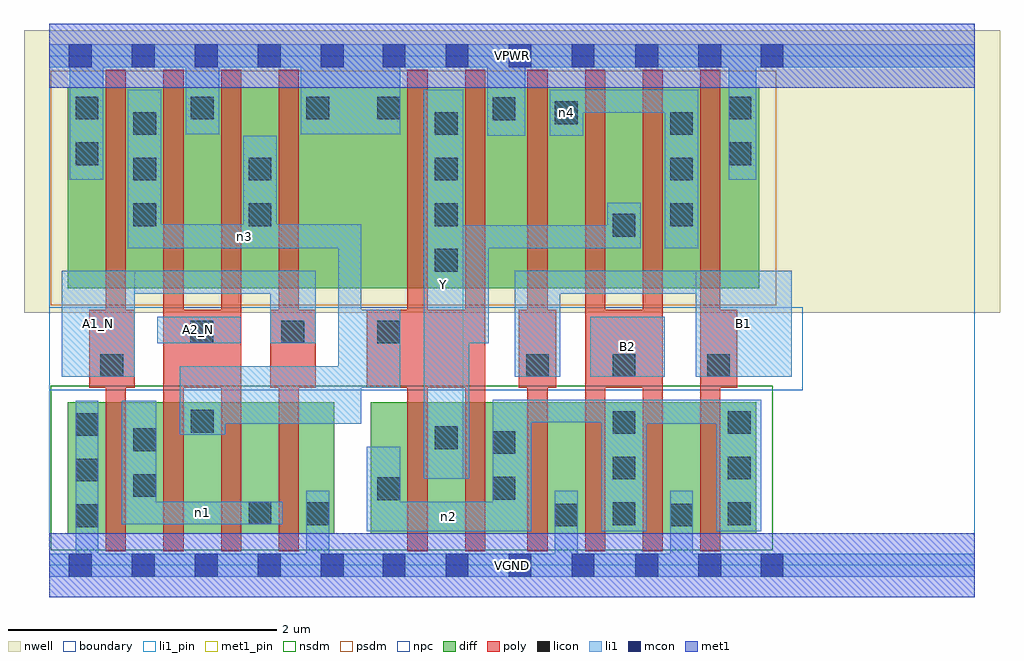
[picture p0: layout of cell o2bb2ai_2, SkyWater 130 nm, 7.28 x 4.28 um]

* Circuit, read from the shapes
.subckt o2bb2ai_2 A1_N A2_N B1 B2 VGND VPWR Y n1 n2 n3 n4
XM1 n1 A1_N VGND VSUBS sky130_fd_pr__nfet_01v8 w=0.98 l=0.15 m=2
XM2 n3 A2_N n1 VSUBS sky130_fd_pr__nfet_01v8 w=0.98 l=0.15 m=2
XM3 Y n3 n2 VSUBS sky130_fd_pr__nfet_01v8 w=0.98 l=0.15 m=2
XM4 VGND B1 n2 VSUBS sky130_fd_pr__nfet_01v8 w=0.98 l=0.15 m=2
XM5 n2 B2 VGND VSUBS sky130_fd_pr__nfet_01v8 w=0.98 l=0.15 m=2
XM6 n3 A1_N VPWR n5 sky130_fd_pr__pfet_01v8 w=1.5 l=0.15 m=2
XM7 VPWR A2_N n3 n5 sky130_fd_pr__pfet_01v8 w=1.5 l=0.15 m=2
XM8 Y n3 VPWR n5 sky130_fd_pr__pfet_01v8 w=1.5 l=0.15 m=2
XM9 n4 B1 VPWR n5 sky130_fd_pr__pfet_01v8 w=1.5 l=0.15 m=2
XM10 Y B2 n4 n5 sky130_fd_pr__pfet_01v8 w=1.5 l=0.15 m=2
.ends

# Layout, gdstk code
import gdstk
lib = gdstk.Library(unit=1e-6, precision=1e-09)
def R(c, l, rs):  # rectangles x0, y0, x1, y1
    for r in rs: c.add(gdstk.rectangle(r[:2], r[2:], *l))
def A(c, l, x, y, w, h, nx, ny, dx, dy):  # array of equal rectangles
    R(c, l, [(x+i*dx, y+j*dy, x+i*dx+w, y+j*dy+h) for i in range(nx) for j in range(ny)])
nwell = (64, 20)
diff = (65, 20)
poly = (66, 20)
licon = (66, 44)
li1_pin = (67, 16)
li1 = (67, 20)
mcon = (67, 44)
met1_pin = (68, 16)
met1 = (68, 20)
nsdm = (93, 44)
psdm = (94, 20)
npc = (95, 20)
boundary = (235, 4)

o2bb2ai_2 = lib.new_cell('o2bb2ai_2')
R(o2bb2ai_2, nwell, [(-0.19,1.885,7.09,3.99), (0,1.885,6.9,3.99)])
R(o2bb2ai_2, diff, [(0.135,0.235,2.125,1.215), (2.395,0.235,5.27,1.215), (0.135,2.065,5.295,3.565)])
A(o2bb2ai_2, poly, 0.42, 0.105, 0.15, 3.59, 4, 1, 0.43, 0)
A(o2bb2ai_2, poly, 3.565, 0.105, 0.15, 3.59, 4, 1, 0.43, 0)
R(o2bb2ai_2, poly, [(2.67,0.105,2.82,3.695), (3.1,0.105,3.25,3.695), (0.295,1.325,0.635,1.905), (0.85,1.325,1.43,1.905), (1.645,1.325,1.985,1.905), (2.365,1.325,3.25,1.905), (3.5,1.325,3.78,1.905), (3.995,1.325,4.575,1.905), (4.855,1.325,5.13,1.905)])
A(o2bb2ai_2, licon, 0.195, 0.285, 0.17, 0.17, 1, 3, 0, 0.34)
A(o2bb2ai_2, licon, 4.2, 0.3, 0.17, 0.17, 1, 3, 0, 0.34)
A(o2bb2ai_2, licon, 5.06, 0.3, 0.17, 0.17, 1, 3, 0, 0.34)
A(o2bb2ai_2, licon, 2.875, 2.19, 0.17, 0.17, 1, 4, 0, 0.34)
A(o2bb2ai_2, licon, 0.625, 2.53, 0.17, 0.17, 1, 3, 0, 0.34)
A(o2bb2ai_2, licon, 4.63, 2.53, 0.17, 0.17, 1, 3, 0, 0.34)
A(o2bb2ai_2, licon, 0.195, 3.325, 0.17, 0.17, 3, 1, 0.86, 0)
R(o2bb2ai_2, licon, [(3.77,0.29,3.94,0.46), (4.63,0.29,4.8,0.46), (1.915,0.3,2.085,0.47), (1.485,0.305,1.655,0.475), (2.445,0.485,2.615,0.655), (3.305,0.49,3.475,0.66), (0.625,0.51,0.795,0.68), (3.305,0.83,3.475,1), (0.625,0.85,0.795,1.02), (2.875,0.865,3.045,1.035), (1.055,0.99,1.225,1.16), (0.38,1.405,0.55,1.575), (3.555,1.405,3.725,1.575), (4.2,1.405,4.37,1.575), (4.905,1.405,5.075,1.575), (1.05,1.655,1.22,1.825), (1.73,1.655,1.9,1.825), (2.445,1.655,2.615,1.825), (4.2,2.45,4.37,2.62), (1.485,2.53,1.655,2.7), (1.485,2.87,1.655,3.04), (0.195,2.985,0.365,3.155), (5.065,2.985,5.235,3.155), (3.77,3.29,3.94,3.46), (3.305,3.32,3.475,3.49), (2.445,3.325,2.615,3.495), (5.065,3.325,5.235,3.495)])
R(o2bb2ai_2, li1_pin, [(2.79,0.645,3.085,3.545), (0.09,1.405,0.635,2.195), (4.035,1.405,4.59,1.855), (4.82,1.405,5.535,2.195), (0.805,1.655,1.425,1.855)])
R(o2bb2ai_2, li1, [(0,-0.085,6.9,0.085), (0.195,-0.085,0.365,1.225), (1.915,-0.085,2.085,0.555), (3.77,-0.085,3.94,0.555), (4.63,-0.085,4.8,0.555), (2.365,0.255,3.595,0.475), (2.365,0.255,2.615,0.885), (3.305,0.255,3.595,1.235), (4.115,0.255,4.455,1.235), (4.975,0.255,5.31,1.235), (0.54,0.305,1.74,0.475), (0.54,0.305,0.795,1.225), (2.79,0.645,3.085,3.545), (2.79,0.645,3.13,2.535), (0.97,0.975,1.31,1.485), (0.97,1.055,2.325,1.485), (2.155,1.055,2.325,2.545), (4.115,1.055,5.31,1.235), (3.305,1.065,5.31,1.235), (2.155,1.325,2.615,1.905), (0.09,1.405,0.635,2.195), (3.47,1.405,3.81,2.195), (4.035,1.405,4.59,1.855), (4.82,1.405,5.535,2.195), (0.805,1.655,1.425,1.855), (1.645,1.655,1.985,2.195), (2.79,1.655,3.275,2.365), (0.09,2.025,1.985,2.195), (3.47,2.025,5.535,2.195), (0.585,2.365,2.325,2.545), (0.585,2.365,0.835,3.545), (1.445,2.365,1.695,3.205), (2.79,2.365,4.41,2.535), (4.16,2.365,4.41,2.705), (4.59,2.365,4.84,3.545), (0.15,2.875,0.4,3.885), (5.065,2.875,5.27,3.885), (3.265,3.205,3.55,3.885), (3.73,3.205,3.98,3.545), (1.015,3.215,1.265,3.885), (1.875,3.215,2.615,3.885), (3.73,3.375,4.84,3.545), (0,3.715,6.9,3.885)])
A(o2bb2ai_2, mcon, 0.145, -0.085, 0.17, 0.17, 5, 2, 0.47, 3.8)
A(o2bb2ai_2, mcon, 2.485, -0.085, 0.17, 0.17, 4, 2, 0.47, 3.8)
R(o2bb2ai_2, mcon, [(4.37,-0.085,4.54,0.085), (4.84,-0.085,5.01,0.085), (5.305,-0.085,5.475,0.085), (4.37,3.715,4.54,3.885), (4.84,3.715,5.01,3.885), (5.305,3.715,5.475,3.885)])
R(o2bb2ai_2, met1_pin, [(0,-0.24,6.9,0.24), (0,3.56,6.9,4.04)])
R(o2bb2ai_2, met1, [(0,-0.24,6.9,0.24), (0,3.56,6.9,4.04)])
R(o2bb2ai_2, nsdm, [(0.01,0.11,5.395,1.34)])
R(o2bb2ai_2, psdm, [(0.01,1.94,5.42,3.69)])
R(o2bb2ai_2, npc, [(0,1.305,5.62,1.925)])
R(o2bb2ai_2, boundary, [(0,0,6.9,3.8)])
o2bb2ai_2.add(gdstk.Label('A1_N', (0.362,1.8), layer=67, texttype=5))
o2bb2ai_2.add(gdstk.Label('A2_N', (1.115,1.755), layer=67, texttype=5))
o2bb2ai_2.add(gdstk.Label('B1', (5.177,1.8), layer=67, texttype=5))
o2bb2ai_2.add(gdstk.Label('B2', (4.312,1.63), layer=67, texttype=5))
o2bb2ai_2.add(gdstk.Label('Y', (2.937,2.095), layer=67, texttype=5))
o2bb2ai_2.add(gdstk.Label('n1', (1.14,0.39), layer=67, texttype=5))
o2bb2ai_2.add(gdstk.Label('n2', (2.98,0.365), layer=67, texttype=5))
o2bb2ai_2.add(gdstk.Label('n3', (1.455,2.455), layer=67, texttype=5))
o2bb2ai_2.add(gdstk.Label('n4', (3.855,3.375), layer=67, texttype=5))
o2bb2ai_2.add(gdstk.Label('VPWR', (3.45,3.8), layer=68, texttype=5))
o2bb2ai_2.add(gdstk.Label('VGND', (3.45,0), layer=68, texttype=5))
o2bb2ai_2.add(gdstk.Label('A1_N', (0.362,1.8), layer=67, texttype=16))
o2bb2ai_2.add(gdstk.Label('A2_N', (1.115,1.755), layer=67, texttype=16))
o2bb2ai_2.add(gdstk.Label('B1', (5.177,1.8), layer=67, texttype=16))
o2bb2ai_2.add(gdstk.Label('B2', (4.312,1.63), layer=67, texttype=16))
o2bb2ai_2.add(gdstk.Label('Y', (2.937,2.095), layer=67, texttype=16))
o2bb2ai_2.add(gdstk.Label('VPWR', (3.45,3.8), layer=68, texttype=16))
o2bb2ai_2.add(gdstk.Label('VGND', (3.45,0), layer=68, texttype=16))

lib.write_gds('o2bb2ai_2.gds')
